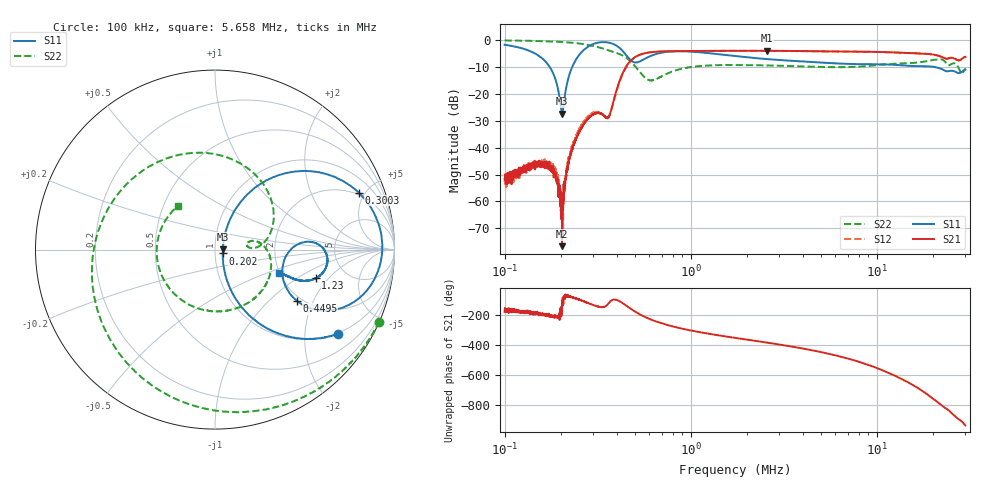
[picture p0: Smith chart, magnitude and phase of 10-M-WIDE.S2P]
!Keysight Technologies,E5063A,MY54504603,A.05.08
!Date: Wed Nov 25 12:53:14 2026
!Data & Calibration Information:
!Freq	S11:NONE(--)	S21:NONE(--)	S12:NONE(--)	S22:NONE(--)
# Hz S dB R 50
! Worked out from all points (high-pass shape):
!   5001 points, 100 kHz to 30 MHz, reference 50 ohm
!   highest |S21| = -3.83 dB at 2.56 MHz (marker M1); lowest = -76.7 dB at 203.5 kHz (marker M2)
!   |S21| within 3 dB of the highest: 488.8 kHz to 23.69 MHz (23.2 MHz wide, 192 % of centre); 23.88 MHz to 26.38 MHz (2.494 MHz wide, 9.92 % of centre) (the widest 2 of 3)
!   lowest |S11| = -27.3 dB at 204 kHz (marker M3), VSWR 1.09, Z = 54.5 + j0.111 ohm
!   |S11| at or under -10 dB: 175.2 kHz to 230.6 kHz (55.4 kHz wide, 27.3 % of centre); 20.91 MHz to end of sweep
!   |S22| runs from -14.9 to 0.0 dB; largest |S21 - S12| = 0.013
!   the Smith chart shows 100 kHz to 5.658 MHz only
!   S11 on the Smith chart (normalised r, x): 100 kHz: 0.96, -2.93; 202 kHz: 1.09, -0.05; 300.3 kHz: 1.84, +4.51; 449.5 kHz: 1.88, -1.51; 1.23 MHz: 3.02, -1.47; 5.658 MHz: 1.99, -0.60
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100000  -1.60 -34.5  -51.70 -176.6  -52.65 -158.9  0.00 -23.8
168820.2  -8.47 -64.2  -46.58 162.4  -45.66 167.6  -0.31 -54.1
201962.1  -26.33 -26.5  -61.19 154.3  -59.87 178.3  -0.55 -70.0
203479.1  -27.28 -6.2  -76.68 -170.6  -62.96 -144.6  -0.56 -70.7
203984.7  -27.31 1.4  -65.51 -112.1  -56.73 -153.2  -0.56 -71.0
258982.6  -4.37 45.6  -32.65 -99.4  -31.80 -103.2  -1.24 -102.3
300273.1  -1.30 21.6  -27.65 -131.5  -26.86 -136.8  -2.07 -132.0
361824.2  -0.78 -7.9  -28.31 -120.6  -28.74 -124.2  -3.67 169.4
449493.7  -5.38 -32.1  -9.81 -133.9  -10.11 -134.3  -6.38 64.2
669687.6  -4.83 3.1  -4.15 114.2  -4.17 113.2  -14.02 13.4
1230499  -4.68 -15.9  -3.89 38.8  -3.90 38.6  -9.35 -29.4
1732051  -5.82 -19.7  -3.86 9.7  -3.85 9.6  -9.14 -58.3
2560297  -6.85 -20.8  -3.83 -22.2  -3.80 -21.2  -9.36 -96.0
4484814  -8.01 -19.9  -3.99 -73.0  -4.03 -73.0  -9.76 179.9
5658072  -8.42 -19.9  -4.07 -99.7  -4.11 -99.5  -9.92 130.4
8785504  -8.85 -20.0  -4.20 -166.0  -4.21 -165.7  -9.56 -0.8
1.159933e7  -8.97 -23.4  -4.38 136.0  -4.41 136.1  -8.82 -115.3
1.53963e7  -9.51 -27.6  -4.72 59.8  -4.73 60.1  -8.39 94.2
1.823579e7  -9.61 -30.6  -4.92 2.5  -4.92 2.6  -7.83 -22.9
2.17616e7  -10.32 -38.3  -5.80 -69.7  -5.82 -69.4  -6.99 -169.3
2.630279e7  -11.59 -37.6  -6.79 -153.0  -6.78 -152.8  -8.54 12.4
3e7  -10.86 -31.9  -6.10 144.6  -6.11 144.8  -10.42 -108.0
